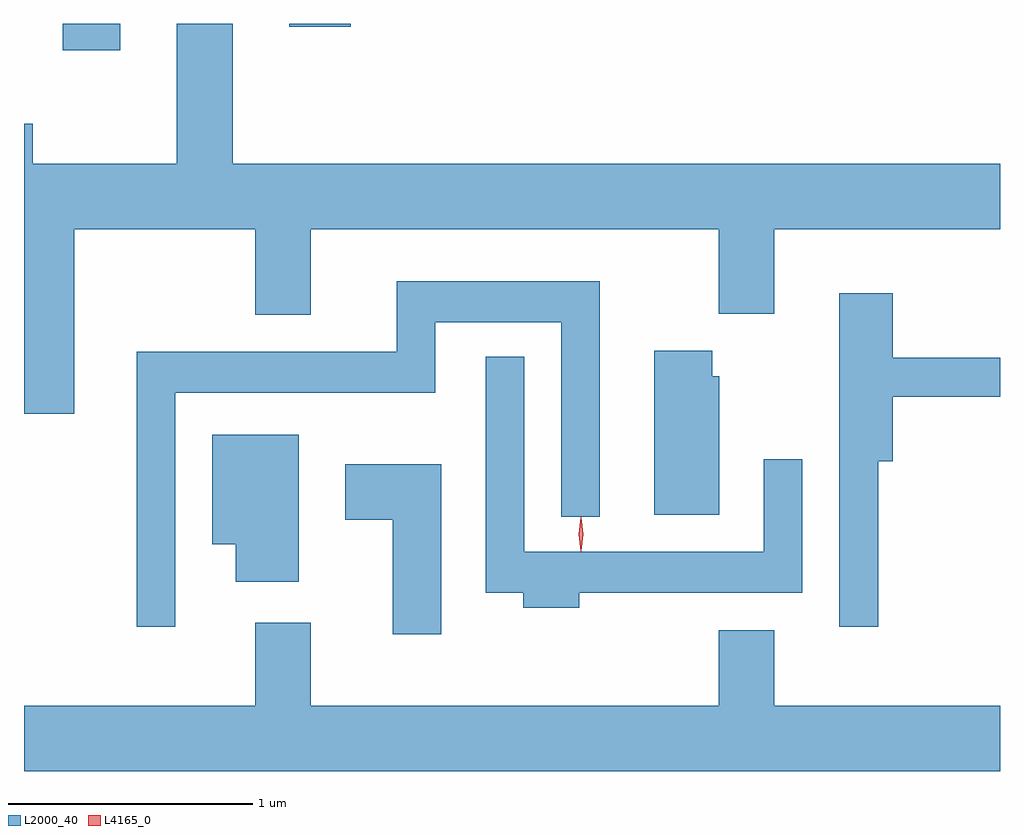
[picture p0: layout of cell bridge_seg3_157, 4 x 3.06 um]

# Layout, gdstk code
import gdstk
lib = gdstk.Library(unit=1e-6, precision=1e-09)
def R(c, l, rs):  # rectangles x0, y0, x1, y1
    for r in rs: c.add(gdstk.rectangle(r[:2], r[2:], *l))
def P(c, l, *ps):  # polygons
    for p in ps: c.add(gdstk.Polygon(p, *l))
L2000_40 = (2000, 40)
L4165_0 = (4165, 0)

bridge_seg3_157 = lib.new_cell('bridge_seg3_157')
R(bridge_seg3_157, L2000_40, [(895.853,1217.771,896.089,1217.878), (896.781,1217.866,897.034,1217.878)])
P(bridge_seg3_157, L2000_40, [(895.899,1217.036),(896.641,1217.036),(896.641,1216.686),(896.869,1216.686),(896.869,1217.036),(898.541,1217.036),(898.541,1216.691),(898.769,1216.691),(898.769,1217.036),(899.694,1217.036),(899.694,1217.304),(896.549,1217.304),(896.549,1217.878),(896.321,1217.878),(896.321,1217.304),(895.729,1217.304),(895.729,1217.469),(895.694,1217.469),(895.694,1216.281),(895.899,1216.281)],
  [(896.314,1216.366),(897.379,1216.366),(897.379,1216.656),(897.896,1216.656),(897.896,1215.858),(898.054,1215.858),(898.054,1216.824),(897.221,1216.824),(897.221,1216.534),(896.156,1216.534),(896.156,1215.408),(896.314,1215.408)],
  [(899.194,1216.086),(899.254,1216.086),(899.254,1216.351),(899.694,1216.351),(899.694,1216.509),(899.254,1216.509),(899.254,1216.774),(899.036,1216.774),(899.036,1215.408),(899.194,1215.408)],
  [(898.544,1216.434),(898.514,1216.434),(898.514,1216.539),(898.276,1216.539),(898.276,1215.866),(898.544,1215.866)],
  [(897.969,1215.546),(898.884,1215.546),(898.884,1216.093),(898.726,1216.093),(898.726,1215.714),(897.744,1215.714),(897.744,1216.513),(897.586,1216.513),(897.586,1215.546),(897.741,1215.546),(897.741,1215.486),(897.969,1215.486)],
  [(896.819,1216.194),(896.466,1216.194),(896.466,1215.746),(896.561,1215.746),(896.561,1215.591),(896.819,1215.591)],
  [(897.404,1216.074),(897.011,1216.074),(897.011,1215.846),(897.206,1215.846),(897.206,1215.376),(897.404,1215.376)],
  [(899.694,1215.084),(898.769,1215.084),(898.769,1215.394),(898.541,1215.394),(898.541,1215.084),(896.869,1215.084),(896.869,1215.424),(896.641,1215.424),(896.641,1215.084),(895.694,1215.084),(895.694,1214.816),(899.694,1214.816)])
P(bridge_seg3_157, L4165_0, [(897.977,1215.719),(897.976,1215.72),(897.967,1215.786),(897.976,1215.852),(897.976,1215.853),(897.977,1215.852),(897.986,1215.786),(897.977,1215.72)],
  [(897.976,1215.717),(897.967,1215.787),(897.976,1215.856),(897.977,1215.856),(897.977,1215.856),(897.987,1215.787),(897.977,1215.717),(897.977,1215.717)])

lib.write_gds('bridge_seg3_157.gds')
